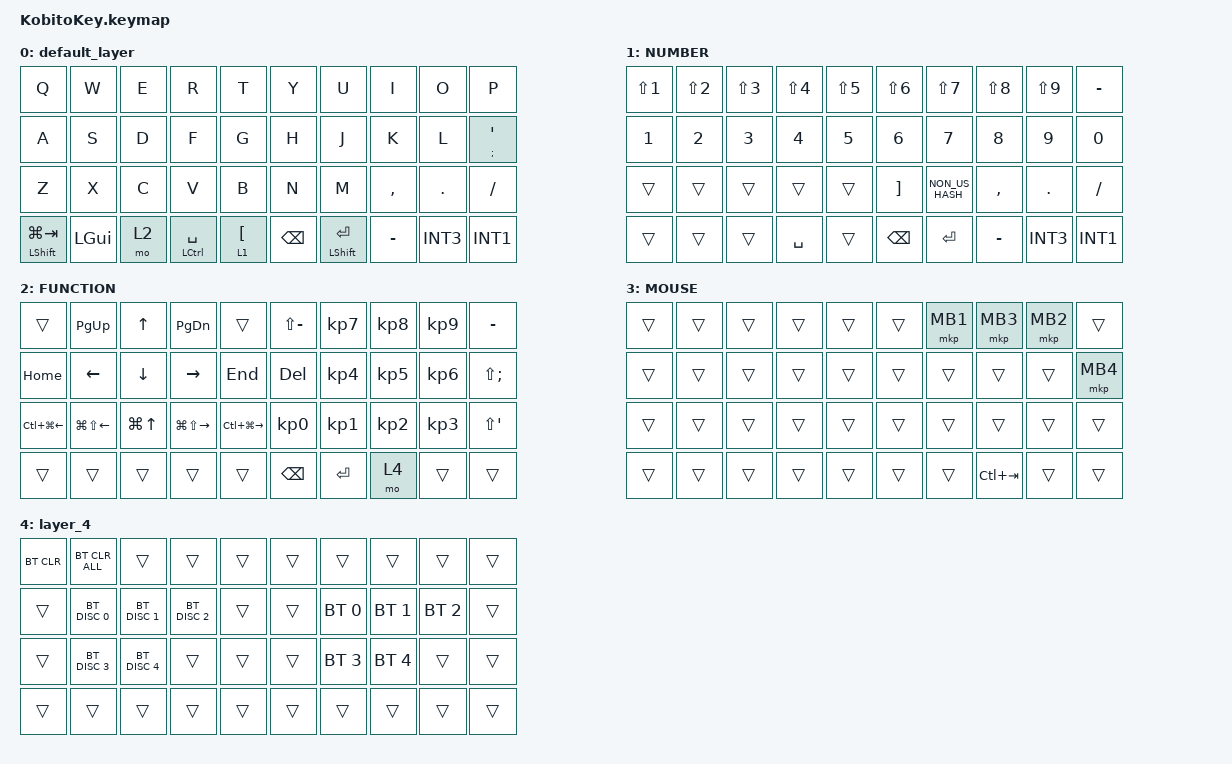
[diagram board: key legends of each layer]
#include <input/processors.dtsi>
#include <behaviors.dtsi>
#include <dt-bindings/zmk/bt.h>
#include <dt-bindings/zmk/keys.h>
#include <dt-bindings/zmk/pointing.h>

/ {
    combos {
        compatible = "zmk,combos";

        combo_eisu {
            timeout-ms = <50>;
            key-positions = <12 13>;
            bindings = <&kp LANG2>;
        };

        combo_kana {
            timeout-ms = <50>;
            key-positions = <16 17>;
            bindings = <&kp LANG1>;
        };

        combo_esc {
            timeout-ms = <50>;
            key-positions = <3 2>;
            bindings = <&kp TAB>;
        };

        combo_tab {
            timeout-ms = <50>;
            key-positions = <3 4>;
            bindings = <&kp ESCAPE>;
        };
    };

    behaviors {
        zenkaku_hankaku: zenkaku_hankaku {
            compatible = "zmk,behavior-tap-dance";
            label = "ZENKAKU_HANKAKU";
            #binding-cells = <0>;
            bindings = <&kp LANGUAGE_2>, <&kp LANGUAGE_1>;
        };
    };

    keymap {
        compatible = "zmk,keymap";

        default_layer {
            bindings = <
&kp Q                   &kp W         &kp E  &kp R            &kp T               &kp Y     &kp U                 &kp I      &kp O     &kp P
&kp A                   &kp S         &kp D  &kp F            &kp G               &kp H     &kp J                 &kp K      &kp L     &mt SEMI SINGLE_QUOTE
&kp Z                   &kp X         &kp C  &kp V            &kp B               &kp N     &kp M                 &kp COMMA  &kp DOT   &kp SLASH
&mt LEFT_SHIFT LG(TAB)  &kp LEFT_GUI  &mo 2  &mt LCTRL SPACE  &lt 1 LEFT_BRACKET  &kp BSPC  &mt LEFT_SHIFT ENTER  &kp MINUS  &kp INT3  &kp INT1
            >;
        };

        layer1 {
            label = "NUMBER";
            bindings = <
&kp LS(NUMBER_1)  &kp LS(NUMBER_2)  &kp LS(NUMBER_3)  &kp LS(NUMBER_4)  &kp LS(NUMBER_5)  &kp LS(NUMBER_6)   &kp LS(NUMBER_7)  &kp LS(NUMBER_8)  &kp LS(NUMBER_9)  &kp MINUS
&kp NUMBER_1      &kp NUMBER_2      &kp NUMBER_3      &kp NUMBER_4      &kp NUMBER_5      &kp NUMBER_6       &kp NUMBER_7      &kp NUMBER_8      &kp NUMBER_9      &kp NUMBER_0
&trans            &trans            &trans            &trans            &trans            &kp RIGHT_BRACKET  &kp NON_US_HASH   &kp COMMA         &kp PERIOD        &kp SLASH
&trans            &trans            &trans            &kp SPACE         &trans            &kp BACKSPACE      &kp ENTER         &kp MINUS         &kp INT3          &kp INT1
            >;
        };

        layer2 {
            label = "FUNCTION";
            bindings = <
&trans            &kp PAGE_UP       &kp UP_ARROW      &kp PAGE_DOWN      &trans             &kp LS(MINUS)    &kp KP_NUMBER_7  &kp KP_NUMBER_8  &kp KP_NUMBER_9  &kp MINUS
&kp HOME          &kp LEFT          &kp DOWN          &kp RIGHT          &kp END            &kp DELETE       &kp KP_NUMBER_4  &kp KP_NUMBER_5  &kp KP_NUMBER_6  &kp LS(SEMI)
&kp LC(LG(LEFT))  &kp LG(LS(LEFT))  &kp LG(UP_ARROW)  &kp LG(LS(RIGHT))  &kp LC(LG(RIGHT))  &kp KP_NUMBER_0  &kp KP_NUMBER_1  &kp KP_NUMBER_2  &kp KP_NUMBER_3  &kp LS(SINGLE_QUOTE)
&trans            &trans            &trans            &trans             &trans             &kp BACKSPACE    &kp ENTER        &mo 4            &trans           &trans
            >;
        };

        layer3 {
            label = "MOUSE";
            bindings = <
&trans  &trans  &trans  &trans  &trans  &trans  &mkp MB1  &mkp MB3     &mkp MB2  &trans
&trans  &trans  &trans  &trans  &trans  &trans  &trans    &trans       &trans    &mkp MB4
&trans  &trans  &trans  &trans  &trans  &trans  &trans    &trans       &trans    &trans
&trans  &trans  &trans  &trans  &trans  &trans  &trans    &kp LC(TAB)  &trans    &trans
            >;
        };

        layer_4 {
            bindings = <
&bt BT_CLR  &bt BT_CLR_ALL  &trans         &trans         &trans  &trans  &trans        &trans        &trans        &trans
&trans      &bt BT_DISC 0   &bt BT_DISC 1  &bt BT_DISC 2  &trans  &trans  &bt BT_SEL 0  &bt BT_SEL 1  &bt BT_SEL 2  &trans
&trans      &bt BT_DISC 3   &bt BT_DISC 4  &trans         &trans  &trans  &bt BT_SEL 3  &bt BT_SEL 4  &trans        &trans
&trans      &trans          &trans         &trans         &trans  &trans  &trans        &trans        &trans        &trans
            >;
        };
    };
};
